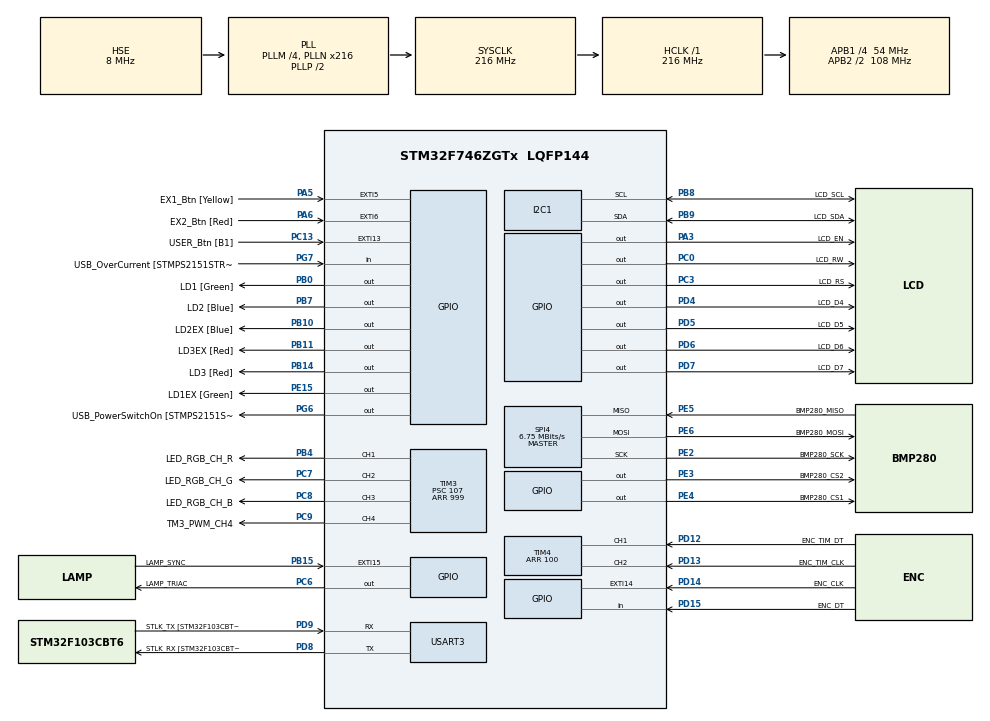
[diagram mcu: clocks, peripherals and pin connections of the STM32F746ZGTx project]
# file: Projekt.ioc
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I2C1.Timing=0x20404768
Mcu.Family=STM32F7
Mcu.Name=STM32F746ZGTx
Mcu.Package=LQFP144
NVIC.EXTI15_10_IRQn=true\:0\:0\:false\:false\:true\:true\:true
NVIC.EXTI9_5_IRQn=true\:0\:0\:false\:false\:true\:true\:true
NVIC.PriorityGroup=NVIC_PRIORITYGROUP_4
NVIC.TIM2_IRQn=true\:0\:0\:false\:false\:true\:true\:true
NVIC.USART3_IRQn=true\:0\:0\:false\:false\:true\:true\:true
PA1.GPIO_Label=RMII_REF_CLK [LAN8742A-CZ-TR_REFCLK0]
PA1.Signal=ETH_REF_CLK
PA10.GPIO_Label=USB_ID
PA10.Signal=USB_OTG_FS_ID
PA11.GPIO_Label=USB_DM
PA11.Signal=USB_OTG_FS_DM
PA12.GPIO_Label=USB_DP
PA12.Signal=USB_OTG_FS_DP
PA13.GPIO_Label=TMS
PA13.Mode=Serial_Wire
PA13.Signal=SYS_JTMS-SWDIO
PA14.GPIO_Label=TCK
PA14.Mode=Serial_Wire
PA14.Signal=SYS_JTCK-SWCLK
PA2.GPIO_Label=RMII_MDIO [LAN8742A-CZ-TR_MDIO]
PA2.Signal=ETH_MDIO
PA3.GPIO_Label=LCD_EN
PA3.Signal=GPIO_Output
PA5.GPIO_Label=EX1_Btn [Yellow]
PA5.GPIO_ModeDefaultEXTI=GPIO_MODE_IT_FALLING
PA5.Signal=GPXTI5
PA6.GPIO_Label=EX2_Btn [Red]
PA6.GPIO_ModeDefaultEXTI=GPIO_MODE_IT_RISING
PA6.Signal=GPXTI6
PA8.GPIO_Label=USB_SOF [TP1]
PA8.Signal=USB_OTG_FS_SOF
PA9.GPIO_Label=USB_VBUS
PA9.Signal=USB_OTG_FS_VBUS
PB0.GPIO_Label=LD1 [Green]
PB0.Signal=GPIO_Output
PB10.GPIO_Label=LD2EX [Blue]
PB10.Signal=GPIO_Output
PB11.GPIO_Label=LD3EX [Red]
PB11.Signal=GPIO_Output
PB13.GPIO_Label=RMII_TXD1 [LAN8742A-CZ-TR_TXD1]
PB13.Signal=ETH_TXD1
PB14.GPIO_Label=LD3 [Red]
PB14.Signal=GPIO_Output
PB15.GPIO_Label=LAMP_SYNC
PB15.Signal=GPXTI15
PB3.GPIO_Label=SW0
PB3.Signal=SYS_JTDO-SWO
PB4.GPIO_Label=LED_RGB_CH_R
PB4.Signal=S_TIM3_CH1
PB7.GPIO_Label=LD2 [Blue]
PB7.Signal=GPIO_Output
PB8.GPIO_Label=LCD_SCL
PB8.GPIO_PuPdOD=GPIO_NOPULL
PB8.Mode=I2C
PB8.Signal=I2C1_SCL
PB9.GPIO_Label=LCD_SDA
PB9.GPIO_PuPdOD=GPIO_NOPULL
PB9.Mode=I2C
PB9.Signal=I2C1_SDA
PC0.GPIO_Label=LCD_RW
PC0.Signal=GPIO_Output
PC1.GPIO_Label=RMII_MDC [LAN8742A-CZ-TR_MDC]
PC1.Signal=ETH_MDC
PC13.GPIO_Label=USER_Btn [B1]
PC13.Signal=GPXTI13
PC14/OSC32_IN.Mode=LSE-External-Oscillator
PC14/OSC32_IN.Signal=RCC_OSC32_IN
PC15/OSC32_OUT.Mode=LSE-External-Oscillator
PC15/OSC32_OUT.Signal=RCC_OSC32_OUT
PC3.GPIO_Label=LCD_RS
PC3.Signal=GPIO_Output
PC4.GPIO_Label=RMII_RXD0 [LAN8742A-CZ-TR_RXD0]
PC4.Signal=ETH_RXD0
PC5.GPIO_Label=RMII_RXD1 [LAN8742A-CZ-TR_RXD1]
PC5.Signal=ETH_RXD1
PC6.GPIO_Label=LAMP_TRIAC
PC6.GPIO_Speed=GPIO_SPEED_FREQ_HIGH
PC6.Signal=GPIO_Output
PC7.GPIO_Label=LED_RGB_CH_G
PC7.Signal=S_TIM3_CH2
PC8.GPIO_Label=LED_RGB_CH_B
PC8.Signal=S_TIM3_CH3
PC9.GPIO_Label=TM3_PWM_CH4
PC9.Signal=S_TIM3_CH4
PD12.GPIO_Label=ENC_TIM_DT
PD12.Signal=S_TIM4_CH1
PD13.GPIO_Label=ENC_TIM_CLK
PD13.Signal=S_TIM4_CH2
PD14.GPIO_Label=ENC_CLK
PD14.GPIO_ModeDefaultEXTI=GPIO_MODE_IT_FALLING
PD14.Signal=GPXTI14
PD15.GPIO_Label=ENC_DT
PD15.Signal=GPIO_Input
PD4.GPIO_Label=LCD_D4
PD4.Signal=GPIO_Output
PD5.GPIO_Label=LCD_D5
PD5.Signal=GPIO_Output
PD6.GPIO_Label=LCD_D6
PD6.Signal=GPIO_Output
PD7.GPIO_Label=LCD_D7
PD7.Signal=GPIO_Output
PD8.GPIO_Label=STLK_RX [STM32F103CBT6_PA3]
PD8.Mode=Asynchronous
PD8.Signal=USART3_TX
PD9.GPIO_Label=STLK_TX [STM32F103CBT6_PA2]
PD9.Mode=Asynchronous
PD9.Signal=USART3_RX
PE15.GPIO_Label=LD1EX [Green]
PE15.Signal=GPIO_Output
PE2.GPIO_Label=BMP280_SCK
PE2.Mode=Full_Duplex_Master
PE2.Signal=SPI4_SCK
PE3.GPIO_Label=BMP280_CS2
PE3.GPIO_Speed=GPIO_SPEED_FREQ_VERY_HIGH
PE3.PinState=GPIO_PIN_SET
PE3.Signal=GPIO_Output
PE4.GPIO_Label=BMP280_CS1
PE4.GPIO_Speed=GPIO_SPEED_FREQ_VERY_HIGH
PE4.PinState=GPIO_PIN_SET
PE4.Signal=GPIO_Output
PE5.GPIO_Label=BMP280_MISO
PE5.Mode=Full_Duplex_Master
PE5.Signal=SPI4_MISO
PE6.GPIO_Label=BMP280_MOSI
PE6.Mode=Full_Duplex_Master
PE6.Signal=SPI4_MOSI
PG11.GPIO_Label=RMII_TX_EN [LAN8742A-CZ-TR_TXEN]
PG11.Signal=ETH_TX_EN
PG13.GPIO_Label=RMII_TXD0 [LAN8742A-CZ-TR_TXD0]
PG13.Signal=ETH_TXD0
PG6.GPIO_Label=USB_PowerSwitchOn [STMPS2151STR_EN]
PG6.Signal=GPIO_Output
PG7.GPIO_Label=USB_OverCurrent [STMPS2151STR_FAULT]
PG7.Signal=GPIO_Input
PH0/OSC_IN.GPIO_Label=MCO [STM32F103CBT6_PA8]
PH0/OSC_IN.Mode=HSE-External-Clock-Source
PH0/OSC_IN.Signal=RCC_OSC_IN
PH1/OSC_OUT.Mode=HSE-External-Clock-Source
PH1/OSC_OUT.Signal=RCC_OSC_OUT
ProjectManager.HeapSize=0x200
ProjectManager.StackSize=0x400
ProjectManager.TargetToolchain=STM32CubeIDE
RCC.48MHZClocksFreq_Value=24000000
RCC.AHBFreq_Value=216000000
RCC.APB1CLKDivider=RCC_HCLK_DIV4
RCC.APB1Freq_Value=54000000
RCC.APB1TimFreq_Value=108000000
RCC.APB2CLKDivider=RCC_HCLK_DIV2
RCC.APB2Freq_Value=108000000
RCC.APB2TimFreq_Value=216000000
RCC.CortexFreq_Value=216000000
RCC.HCLKFreq_Value=216000000
RCC.HSE_VALUE=8000000
RCC.HSI_VALUE=16000000
RCC.PLLM=4
RCC.PLLMUL=RCC_PLL_MUL9
RCC.PLLN=216
RCC.PLLQ=3
RCC.PLLSourceVirtual=RCC_PLLSOURCE_HSE
RCC.PRESCALERUSB=RCC_USBCLKSOURCE_PLL_DIV1_5
RCC.SYSCLKFreq_VALUE=216000000
RCC.SYSCLKSource=RCC_SYSCLKSOURCE_PLLCLK
RCC.SYSCLKSourceVirtual=RCC_SYSCLKSOURCE_PLLCLK
RCC.USBFreq_Value=144000000
RCC.VCOOutputFreq_Value=432000000
SH.S_TIM3_CH1.0=TIM3_CH1,PWM Generation1 CH1
SH.S_TIM3_CH2.0=TIM3_CH2,PWM Generation2 CH2
SH.S_TIM3_CH3.0=TIM3_CH3,PWM Generation3 CH3
SH.S_TIM3_CH4.0=TIM3_CH4,PWM Generation4 CH4
SH.S_TIM4_CH1.0=TIM4_CH1,Encoder_Interface
SH.S_TIM4_CH2.0=TIM4_CH2,Encoder_Interface
SPI4.BaudRatePrescaler=SPI_BAUDRATEPRESCALER_16
SPI4.CLKPhase=SPI_PHASE_2EDGE
SPI4.CLKPolarity=SPI_POLARITY_HIGH
SPI4.CalculateBaudRate=6.75 MBits/s
SPI4.DataSize=SPI_DATASIZE_8BIT
SPI4.Direction=SPI_DIRECTION_2LINES
SPI4.Mode=SPI_MODE_MASTER
SPI4.VirtualType=VM_MASTER
TIM2.Period=4999
TIM2.Prescaler=107
TIM3.Channel-PWM\ Generation1\ CH1=TIM_CHANNEL_1
TIM3.Channel-PWM\ Generation2\ CH2=TIM_CHANNEL_2
TIM3.Channel-PWM\ Generation3\ CH3=TIM_CHANNEL_3
TIM3.Channel-PWM\ Generation4\ CH4=TIM_CHANNEL_4
TIM3.Period=999
TIM3.Prescaler=107
TIM3.Pulse-PWM\ Generation2\ CH2=0
TIM3.Pulse-PWM\ Generation3\ CH3=0
TIM4.EncoderMode=TIM_ENCODERMODE_TI12
TIM4.IC1Polarity=TIM_ICPOLARITY_FALLING
TIM4.IC2Polarity=TIM_ICPOLARITY_FALLING
TIM4.Period=100
USART3.VirtualMode-Asynchronous=VM_ASYNC
VP_TIM2_VS_ClockSourceINT.Mode=Internal
VP_TIM3_VS_ClockSourceINT.Mode=Internal
board=NUCLEO-F746ZG

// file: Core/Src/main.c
/* USER CODE BEGIN Header */
/**
  ******************************************************************************
  * @file           : main.c
  * @brief          : Main program body
  ******************************************************************************
  * @attention
  *
  * <h2><center>&copy; Copyright (c) 2020 STMicroelectronics.
  * All rights reserved.</center></h2>
  *
  * This software component is licensed by ST under BSD 3-Clause license,
  * the "License"; You may not use this file except in compliance with the
  * License. You may obtain a copy of the License at:
  *                        opensource.org/licenses/BSD-3-Clause
  *
  ******************************************************************************
  */
/* USER CODE END Header */
#include "main.h"
#include "i2c.h"
#include "spi.h"
#include "tim.h"
#include "usart.h"
#include "gpio.h"

/* USER CODE BEGIN Includes */
/***********Komponenty***********/
#include "Components/bmp280.h"
#include "Components/bmp280_defs.h"
#include "Components/bmp280_config.h"

#include "Components/lcd_config.h"
#include "Components/lcd.h"

#include "Components/fan.h"
#include "Components/fan_config.h"

#include "Components/heater.h"
#include "Components/heater_config.h"

/***********Biblioteki***********/
#include <stdio.h>
/* USER CODE END Includes */

/* USER CODE BEGIN PD */
#define BMP280_SPI (&hspi4)
#define BMP280_CS1 1
#define BMP280_CS2 2

#define enc_counter_max 3999  // max temperature
#define enc_counter_min 1499   // min temperature
#define enc_counter_step 25   // step of temperature 0.25degree

/* USER CODE END PD */

/* USER CODE BEGIN PV */

//struct lcd_disp disp;

char buffor[100];
char rx_buffer[15];

uint32_t enc_counter = enc_counter_min;
/* USER CODE END PV */

void SystemClock_Config(void);

/* USER CODE BEGIN 0 */

/* Usart */
void HAL_UART_TxCpltCallback(UART_HandleTypeDef *huart)
{
	if(huart == &huart3)
	{
 	 HAL_UART_Receive_IT(&huart3, (uint8_t*)rx_buffer, 4);
	}
 }

 void HAL_UART_RxCpltCallback(UART_HandleTypeDef *huart)
 {
	 if(huart == &huart3){
		 HAL_UART_Transmit_IT(&huart3, (uint8_t*)rx_buffer, 4);
	 }
 }

 /* Encoder */
  void HAL_GPIO_EXTI_Callback(uint16_t GPIO_Pin)
  {
  	if(GPIO_Pin == ENC_CLK_Pin)
  	{
  		if(HAL_GPIO_ReadPin(ENC_DT_GPIO_Port, ENC_DT_Pin) == GPIO_PIN_RESET)
  		{
  			enc_counter = (enc_counter >= enc_counter_max) ? enc_counter_max: (enc_counter + enc_counter_step);
  		}
  		else
  		{
  			enc_counter = (enc_counter <= enc_counter_min) ? enc_counter_min: (enc_counter - enc_counter_step);
  		}
  	}
  }

/* USER CODE END 0 */

int main(void)
{
  /* USER CODE BEGIN 1 */
	struct bmp280_uncomp_data bmp280_1_data;

	int32_t temp32=0;
	int32_t temp32_2=0;
	double temp;
	float temperature;

  /* USER CODE END 1 */

  /* MCU Configuration--------------------------------------------------------*/

  /* Reset of all peripherals, Initializes the Flash interface and the Systick. */
  HAL_Init();

  /* Configure the system clock */
  SystemClock_Config();

  /* Initialize all configured peripherals */
  MX_GPIO_Init();
  MX_USART3_UART_Init();
  MX_TIM2_Init();
  MX_TIM3_Init();
  MX_TIM4_Init();
  MX_I2C1_Init();
  MX_SPI4_Init();
  /* USER CODE BEGIN 2 */

   int8_t rslt;
    struct bmp280_config conf;

    rslt = bmp280_init(&bmp280_1);

    /*Always read the current settings before writing especially when all the configuration is not modified */
    rslt = bmp280_get_config(&conf, &bmp280_1);

    /* congiguring the temperature oversampling, filter coefficient and output data rate */
    /* Overwrite the desired settings */

    conf.filter = BMP280_FILTER_OFF;

    /* Temperature oversampling set at 1x */
    conf.os_temp = BMP280_OS_1X;

    /* Pressure oversampling set at 1x */
    conf.os_pres = BMP280_OS_1X;

    /* Setting the output data rate as 1 Hz (1000ms) */
    conf.odr = BMP280_ODR_1000_MS;

    rslt = bmp280_set_config(&conf, &bmp280_1);

    /* Always set the power mode after setting the configuration */
    rslt = bmp280_set_power_mode(BMP280_NORMAL_MODE, &bmp280_1);

    /* Receive massage about value of temperature */
    HAL_UART_Receive_IT(&huart3, (uint8_t*)rx_buffer, 4);

    /*Inicjazlicaja LCD*/
    LCD_Init(&hlcd);
    /*Inicjazlicaja Grzałki*/
    HEATER_Init(&hheater1);
    /*Inicjazlicaja Wiatraka*/
    FAN_Init(&hfan1);

  /* USER CODE END 2 */

  /* Infinite loop */
  /* USER CODE BEGIN WHILE */
  while (1)
  {

	  rslt = bmp280_get_uncomp_data(&bmp280_1_data, &bmp280_1);

	  rslt = bmp280_get_comp_temp_32bit(&temp32, bmp280_1_data.uncomp_temp, &bmp280_1);

	  rslt = bmp280_get_comp_temp_double(&temp, bmp280_1_data.uncomp_temp, &bmp280_1);
	  temperature = (float)temp32*0.01;

	  /* Sending the temperature measured by the sensor
	  	   * Maciej jak już bedziesz miał to LCD to tuaj możesz tego sprintf uzyc bu jakoś pokaza cstopnie celcjusza
	  	   * zmienna temperatura to jest ta z czujnika, ona ma postać XX.XXstopni, np 25.02 stopnia
	  	   * */

	  //sprintf((char*)buffor, "Temperatura: %.2f \r\n", temperature);
	  //HAL_UART_Transmit(&huart3, (uint8_t*)buffor, strlen(buffor), 1000);

	  bmp280_1.delay_ms(1000);
	  //Wyświetlacz LCD
	  sprintf((char*)hlcd.FirstLine, "Temp. : %.2f", temperature);
	  LCD_Display(&hlcd);
	  /* Przykłady ustawinaia
	   *
	   * Ustawianie grzałkaki
	   *HEATER_SetDuty(&hheater1, 50) na 50%
	   *
	   *Ustawienie wiatraka
	   *HEATER_SetDuty(&hheater1,50) na 50%
	   */
    /* USER CODE END WHILE */

  }
}

void SystemClock_Config(void)
{
  RCC_OscInitTypeDef RCC_OscInitStruct = {0};
  RCC_ClkInitTypeDef RCC_ClkInitStruct = {0};
  RCC_PeriphCLKInitTypeDef PeriphClkInitStruct = {0};

  /** Configure LSE Drive Capability
  */
  HAL_PWR_EnableBkUpAccess();
  /** Configure the main internal regulator output voltage
  */
  __HAL_RCC_PWR_CLK_ENABLE();
  __HAL_PWR_VOLTAGESCALING_CONFIG(PWR_REGULATOR_VOLTAGE_SCALE1);
  /** Initializes the RCC Oscillators according to the specified parameters
  * in the RCC_OscInitTypeDef structure.
  */
  RCC_OscInitStruct.OscillatorType = RCC_OSCILLATORTYPE_HSE;
  RCC_OscInitStruct.HSEState = RCC_HSE_BYPASS;
  RCC_OscInitStruct.PLL.PLLState = RCC_PLL_ON;
  RCC_OscInitStruct.PLL.PLLSource = RCC_PLLSOURCE_HSE;
  RCC_OscInitStruct.PLL.PLLM = 4;
  RCC_OscInitStruct.PLL.PLLN = 216;
  RCC_OscInitStruct.PLL.PLLP = RCC_PLLP_DIV2;
  RCC_OscInitStruct.PLL.PLLQ = 3;
  if (HAL_RCC_OscConfig(&RCC_OscInitStruct) != HAL_OK)
  {
    Error_Handler();
  }
  /** Activate the Over-Drive mode
  */
  if (HAL_PWREx_EnableOverDrive() != HAL_OK)
  {
    Error_Handler();
  }
  /** Initializes the CPU, AHB and APB buses clocks
  */
  RCC_ClkInitStruct.ClockType = RCC_CLOCKTYPE_HCLK|RCC_CLOCKTYPE_SYSCLK
                              |RCC_CLOCKTYPE_PCLK1|RCC_CLOCKTYPE_PCLK2;
  RCC_ClkInitStruct.SYSCLKSource = RCC_SYSCLKSOURCE_PLLCLK;
  RCC_ClkInitStruct.AHBCLKDivider = RCC_SYSCLK_DIV1;
  RCC_ClkInitStruct.APB1CLKDivider = RCC_HCLK_DIV4;
  RCC_ClkInitStruct.APB2CLKDivider = RCC_HCLK_DIV2;

  if (HAL_RCC_ClockConfig(&RCC_ClkInitStruct, FLASH_LATENCY_7) != HAL_OK)
  {
    Error_Handler();
  }
  PeriphClkInitStruct.PeriphClockSelection = RCC_PERIPHCLK_USART3|RCC_PERIPHCLK_I2C1;
  PeriphClkInitStruct.Usart3ClockSelection = RCC_USART3CLKSOURCE_PCLK1;
  PeriphClkInitStruct.I2c1ClockSelection = RCC_I2C1CLKSOURCE_PCLK1;
  if (HAL_RCCEx_PeriphCLKConfig(&PeriphClkInitStruct) != HAL_OK)
  {
    Error_Handler();
  }
}

void Error_Handler(void)
{
}

/************************ (C) COPYRIGHT STMicroelectronics *****END OF FILE****/
